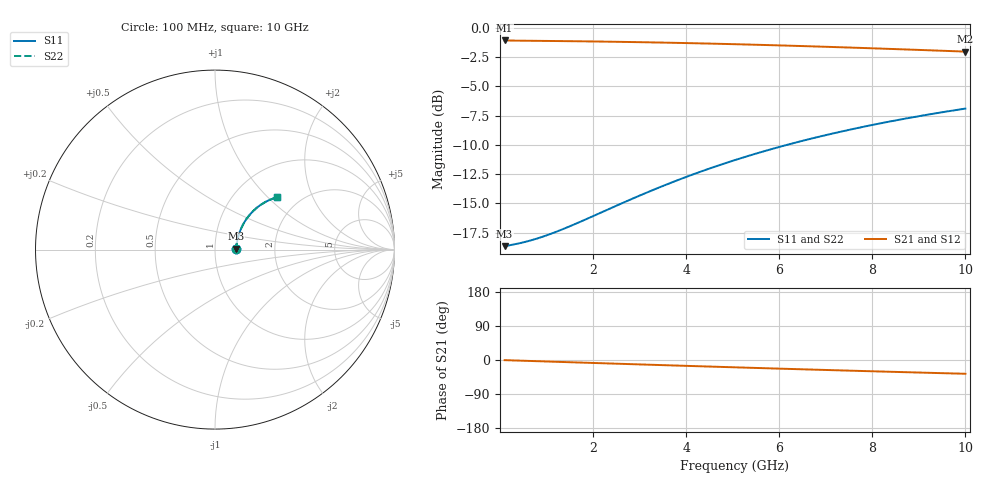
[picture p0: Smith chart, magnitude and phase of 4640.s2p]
# Hz S RI R 50.00
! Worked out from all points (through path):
!   100 points, 100 MHz to 10 GHz, reference 50 ohm
!   highest |S21| = -1.08 dB at 100 MHz (marker M1); lowest = -2.0 dB at 10 GHz (marker M2)
!   group delay of S21, straight-line fit = 10.1 ps
!   lowest |S11| = -18.7 dB at 100 MHz (marker M3), VSWR 1.26, Z = 63.2 + j0.55 ohm
!   |S11| at or under -10 dB: start of sweep to 6.166 GHz
!   |S22| runs from -18.7 to -6.9 dB; largest |S21 - S12| = 0
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1e8  0.1167 0.0043  0.8833 -0.00605  0.8833 -0.00605  0.1167 0.0043
5e8  0.1193 0.0213  0.8807 -0.0301  0.8807 -0.0301  0.1193 0.0213
7e8  0.1205 0.0298  0.8794 -0.0421  0.8794 -0.0421  0.1205 0.0298
9e8  0.1219 0.0382  0.8779 -0.054  0.8779 -0.054  0.1219 0.0382
1.1e9  0.1235 0.0466  0.8763 -0.0659  0.8763 -0.0659  0.1235 0.0466
1.3e9  0.1252 0.0549  0.8745 -0.0777  0.8745 -0.0777  0.1252 0.0549
1.8e9  0.1304 0.0754  0.869 -0.107  0.869 -0.107  0.1304 0.0754
2.3e9  0.1368 0.0954  0.8623 -0.1359  0.8623 -0.1359  0.1368 0.0954
2.8e9  0.1444 0.1149  0.8543 -0.1641  0.8543 -0.1641  0.1444 0.1149
3.4e9  0.1551 0.1373  0.8429 -0.1971  0.8429 -0.1971  0.1551 0.1373
3.8e9  0.1632 0.1517  0.8344 -0.2185  0.8344 -0.2185  0.1632 0.1517
4.2e9  0.1719 0.1654  0.8252 -0.2393  0.8252 -0.2393  0.1719 0.1654
4.6e9  0.1812 0.1787  0.8153 -0.2596  0.8153 -0.2596  0.1812 0.1787
5.1e9  0.1937 0.1943  0.802 -0.2841  0.802 -0.2841  0.1937 0.1943
5.5e9  0.2043 0.2061  0.7907 -0.303  0.7907 -0.303  0.2043 0.2061
5.9e9  0.2153 0.2173  0.7789 -0.3213  0.7789 -0.3213  0.2153 0.2173
6.3e9  0.2268 0.2277  0.7666 -0.3388  0.7666 -0.3388  0.2268 0.2277
6.7e9  0.2387 0.2375  0.7538 -0.3557  0.7538 -0.3557  0.2387 0.2375
7.5e9  0.2634 0.2549  0.7272 -0.3875  0.7272 -0.3875  0.2634 0.2549
8.4e9  0.2924 0.2711  0.6958 -0.4198  0.6958 -0.4198  0.2924 0.2711
9.2e9  0.3188 0.2826  0.667 -0.4457  0.667 -0.4457  0.3188 0.2826
1e10  0.3454 0.2913  0.6377 -0.4689  0.6377 -0.4689  0.3454 0.2913
